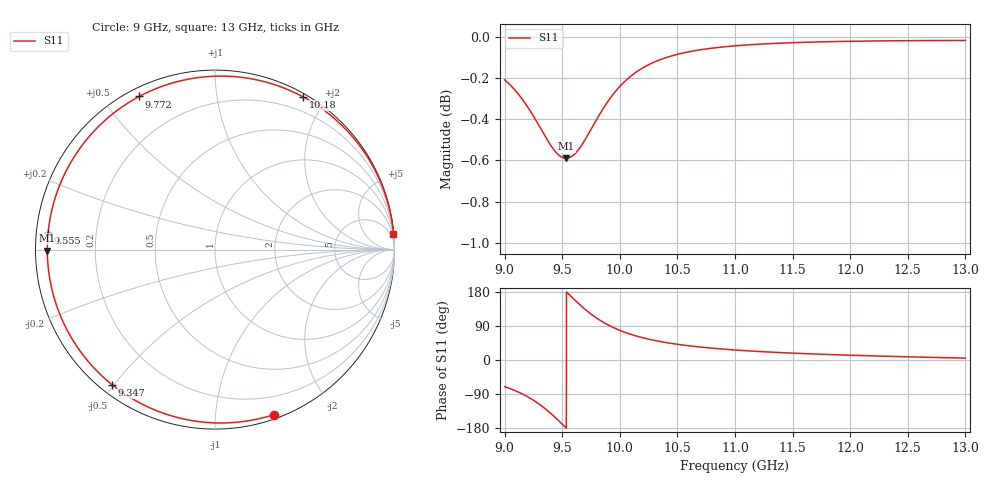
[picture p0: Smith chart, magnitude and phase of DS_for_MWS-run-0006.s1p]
! TOUCHSTONE file generated by CST DESIGN STUDIO
! Date and time: Tue Feb  4 18:06:04 2025
! Project name: C:\Work\MatlabApps\UnitCellOptimizationMatlab\CST\unitcell.cst
! Tree item: Tasks\Sweep1\SPara1\S-Parameters
! Header version: 2024
! Port assignment regex: !\s*Touchstone port\s*([0-9]+)\s*=\s*(CST MWS port|CST DES external port|CST DES block port)\s*(.+)\s* \(\"(.*)\"\)(\s*mode\s*([0-9]+))?.*
! Touchstone port assignment:
! Touchstone port 1 = CST DES external port 1 ("")
# GHz S MA R 50
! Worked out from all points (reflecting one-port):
!   4001 points, 9 GHz to 13 GHz, reference 50 ohm
!   lowest |S11| = -0.6 dB at 9.535 GHz (marker M1), VSWR 29.48, Z = 1.7 - j0.141 ohm
!   phase of S11 starts at -70 deg and turns -285 deg over the sweep
!   S11 on the Smith chart (normalised r, x): 9 GHz: 0.04, -1.42; 9.347 GHz: 0.03, -0.50; 9.555 GHz: 0.03, +0.05; 9.772 GHz: 0.03, +0.62; 10.18 GHz: 0.04, +1.73; 13 GHz: 1, +23
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9  0.9764 -70.4
9.097  0.9702 -81.6
9.204  0.9613 -97.7
9.279  0.9537 -111.9
9.347  0.9465 -127.2
9.419  0.9396 -145.9
9.461  0.9366 -157.7
9.5  0.9349 -169.2
9.535  0.9344 -179.7
9.555  0.9346 174.3
9.609  0.9367 158.3
9.67  0.9414 141.2
9.721  0.9465 128.1
9.772  0.952 116.3
9.82  0.9571 106.4
9.873  0.9624 96.7
9.931  0.9675 87.5
10  0.9727 78.2
10.088  0.978 68.4
10.183  0.9823 60.0
10.328  0.9869 50.0
10.5  0.9904 41.4
10.721  0.9931 33.5
11  0.9951 26.4
11.5  0.9968 18.1
12  0.9976 12.6
12.5  0.998 8.4
13  0.9981 4.9
